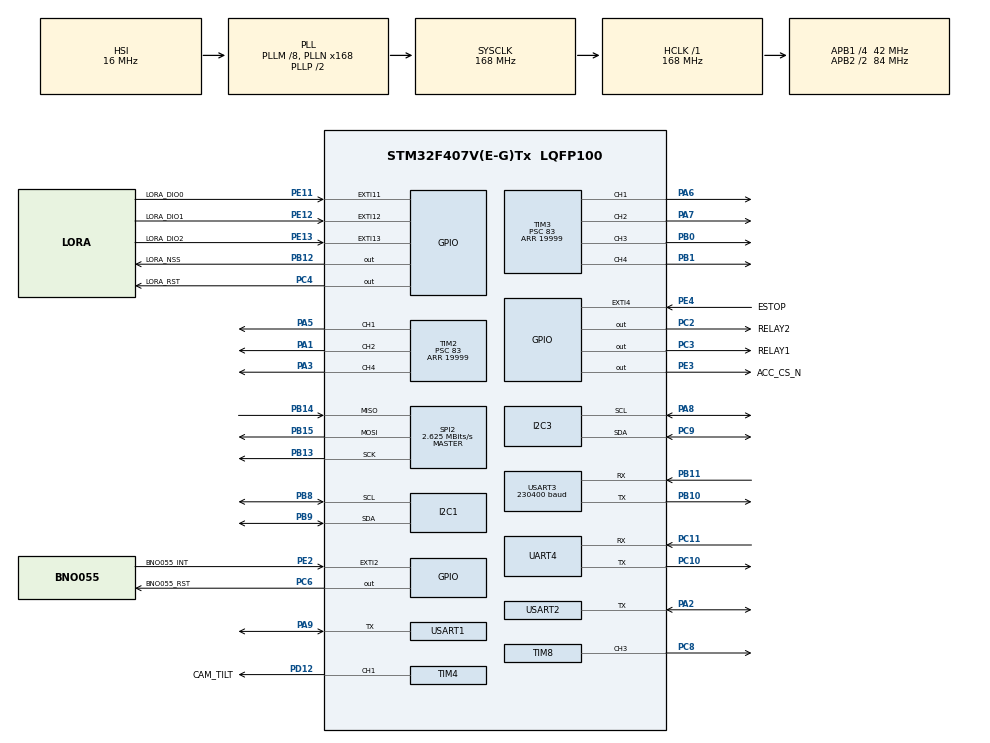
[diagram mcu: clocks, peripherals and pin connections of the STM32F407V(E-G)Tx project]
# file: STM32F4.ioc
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Dma.Request0=USART3_RX
Dma.Request1=USART1_RX
Dma.Request2=USART1_TX
Dma.Request3=USART2_RX
Dma.Request4=UART4_RX
Dma.Request5=UART4_TX
Dma.UART4_RX.4.Direction=DMA_PERIPH_TO_MEMORY
Dma.UART4_RX.4.FIFOMode=DMA_FIFOMODE_DISABLE
Dma.UART4_RX.4.Instance=DMA1_Stream2
Dma.UART4_RX.4.MemDataAlignment=DMA_MDATAALIGN_BYTE
Dma.UART4_RX.4.MemInc=DMA_MINC_ENABLE
Dma.UART4_RX.4.Mode=DMA_CIRCULAR
Dma.UART4_RX.4.PeriphDataAlignment=DMA_PDATAALIGN_BYTE
Dma.UART4_RX.4.PeriphInc=DMA_PINC_DISABLE
Dma.UART4_RX.4.Priority=DMA_PRIORITY_MEDIUM
Dma.UART4_TX.5.Direction=DMA_MEMORY_TO_PERIPH
Dma.UART4_TX.5.FIFOMode=DMA_FIFOMODE_DISABLE
Dma.UART4_TX.5.Instance=DMA1_Stream4
Dma.UART4_TX.5.MemDataAlignment=DMA_MDATAALIGN_BYTE
Dma.UART4_TX.5.MemInc=DMA_MINC_ENABLE
Dma.UART4_TX.5.Mode=DMA_NORMAL
Dma.UART4_TX.5.PeriphDataAlignment=DMA_PDATAALIGN_BYTE
Dma.UART4_TX.5.PeriphInc=DMA_PINC_DISABLE
Dma.UART4_TX.5.Priority=DMA_PRIORITY_MEDIUM
Dma.USART1_RX.1.Direction=DMA_PERIPH_TO_MEMORY
Dma.USART1_RX.1.FIFOMode=DMA_FIFOMODE_DISABLE
Dma.USART1_RX.1.Instance=DMA2_Stream2
Dma.USART1_RX.1.MemDataAlignment=DMA_MDATAALIGN_BYTE
Dma.USART1_RX.1.MemInc=DMA_MINC_ENABLE
Dma.USART1_RX.1.Mode=DMA_NORMAL
Dma.USART1_RX.1.PeriphDataAlignment=DMA_PDATAALIGN_BYTE
Dma.USART1_RX.1.PeriphInc=DMA_PINC_DISABLE
Dma.USART1_RX.1.Priority=DMA_PRIORITY_MEDIUM
Dma.USART1_TX.2.Direction=DMA_MEMORY_TO_PERIPH
Dma.USART1_TX.2.FIFOMode=DMA_FIFOMODE_DISABLE
Dma.USART1_TX.2.Instance=DMA2_Stream7
Dma.USART1_TX.2.MemDataAlignment=DMA_MDATAALIGN_BYTE
Dma.USART1_TX.2.MemInc=DMA_MINC_ENABLE
Dma.USART1_TX.2.Mode=DMA_NORMAL
Dma.USART1_TX.2.PeriphDataAlignment=DMA_PDATAALIGN_BYTE
Dma.USART1_TX.2.PeriphInc=DMA_PINC_DISABLE
Dma.USART1_TX.2.Priority=DMA_PRIORITY_MEDIUM
Dma.USART2_RX.3.Direction=DMA_PERIPH_TO_MEMORY
Dma.USART2_RX.3.FIFOMode=DMA_FIFOMODE_DISABLE
Dma.USART2_RX.3.Instance=DMA1_Stream5
Dma.USART2_RX.3.MemDataAlignment=DMA_MDATAALIGN_BYTE
Dma.USART2_RX.3.MemInc=DMA_MINC_ENABLE
Dma.USART2_RX.3.Mode=DMA_NORMAL
Dma.USART2_RX.3.PeriphDataAlignment=DMA_PDATAALIGN_BYTE
Dma.USART2_RX.3.PeriphInc=DMA_PINC_DISABLE
Dma.USART2_RX.3.Priority=DMA_PRIORITY_LOW
Dma.USART3_RX.0.Direction=DMA_PERIPH_TO_MEMORY
Dma.USART3_RX.0.FIFOMode=DMA_FIFOMODE_DISABLE
Dma.USART3_RX.0.Instance=DMA1_Stream1
Dma.USART3_RX.0.MemDataAlignment=DMA_MDATAALIGN_BYTE
Dma.USART3_RX.0.MemInc=DMA_MINC_ENABLE
Dma.USART3_RX.0.Mode=DMA_CIRCULAR
Dma.USART3_RX.0.PeriphDataAlignment=DMA_PDATAALIGN_BYTE
Dma.USART3_RX.0.PeriphInc=DMA_PINC_DISABLE
Dma.USART3_RX.0.Priority=DMA_PRIORITY_MEDIUM
I2C1.I2C_Mode=I2C_Fast
I2C3.I2C_Mode=I2C_Fast
Mcu.Family=STM32F4
Mcu.Name=STM32F407V(E-G)Tx
Mcu.Package=LQFP100
NVIC.DMA1_Stream1_IRQn=true\:5\:0\:true\:false\:true\:false\:true\:true
NVIC.DMA1_Stream2_IRQn=true\:5\:0\:true\:false\:true\:false\:true\:true
NVIC.DMA1_Stream4_IRQn=true\:5\:0\:true\:false\:true\:false\:true\:true
NVIC.DMA1_Stream5_IRQn=true\:5\:0\:true\:false\:true\:false\:true\:true
NVIC.DMA2_Stream2_IRQn=true\:5\:0\:true\:false\:true\:false\:true\:true
NVIC.DMA2_Stream7_IRQn=true\:5\:0\:true\:false\:true\:false\:true\:true
NVIC.EXTI15_10_IRQn=true\:6\:0\:true\:false\:true\:true\:true\:true
NVIC.EXTI2_IRQn=true\:6\:0\:true\:false\:true\:true\:true\:true
NVIC.EXTI4_IRQn=true\:0\:0\:true\:false\:true\:true\:true\:true
NVIC.PriorityGroup=NVIC_PRIORITYGROUP_4
NVIC.UART4_IRQn=true\:5\:0\:true\:false\:true\:true\:true\:true
NVIC.USART1_IRQn=true\:5\:0\:true\:false\:true\:true\:true\:true
NVIC.USART2_IRQn=true\:5\:0\:true\:false\:true\:true\:true\:true
NVIC.USART3_IRQn=true\:5\:0\:true\:false\:true\:true\:true\:true
PA1.Signal=S_TIM2_CH2
PA13.Mode=Serial_Wire
PA13.Signal=SYS_JTMS-SWDIO
PA14.Mode=Serial_Wire
PA14.Signal=SYS_JTCK-SWCLK
PA2.GPIO_PuPd=GPIO_PULLUP
PA2.Mode=Half_duplex(single_wire_mode)
PA2.Signal=USART2_TX
PA3.Signal=S_TIM2_CH4
PA5.Signal=S_TIM2_CH1_ETR
PA6.Signal=S_TIM3_CH1
PA7.Signal=S_TIM3_CH2
PA8.GPIO_Pu=GPIO_PULLUP
PA8.Mode=I2C
PA8.Signal=I2C3_SCL
PA9.GPIO_PuPd=GPIO_PULLUP
PA9.Mode=Half_duplex(single_wire_mode)
PA9.Signal=USART1_TX
PB0.Signal=S_TIM3_CH3
PB1.Signal=S_TIM3_CH4
PB10.Mode=Asynchronous
PB10.Signal=USART3_TX
PB11.Mode=Asynchronous
PB11.Signal=USART3_RX
PB12.GPIO_Label=LORA_NSS
PB12.GPIO_Speed=GPIO_SPEED_FREQ_HIGH
PB12.PinState=GPIO_PIN_SET
PB12.Signal=GPIO_Output
PB13.Mode=Full_Duplex_Master
PB13.Signal=SPI2_SCK
PB14.Mode=Full_Duplex_Master
PB14.Signal=SPI2_MISO
PB15.Mode=Full_Duplex_Master
PB15.Signal=SPI2_MOSI
PB8.GPIO_Pu=GPIO_PULLUP
PB8.Mode=I2C
PB8.Signal=I2C1_SCL
PB9.GPIO_Pu=GPIO_PULLUP
PB9.Mode=I2C
PB9.Signal=I2C1_SDA
PC10.Mode=Asynchronous
PC10.Signal=UART4_TX
PC11.GPIO_PuPd=GPIO_PULLUP
PC11.Mode=Asynchronous
PC11.Signal=UART4_RX
PC2.GPIO_Label=RELAY2
PC2.GPIO_ModeDefaultOutputPP=GPIO_MODE_OUTPUT_PP
PC2.GPIO_PuPd=GPIO_NOPULL
PC2.PinState=GPIO_PIN_RESET
PC2.Signal=GPIO_Output
PC3.GPIO_Label=RELAY1
PC3.Signal=GPIO_Output
PC4.GPIO_Label=LORA_RST
PC4.PinState=GPIO_PIN_SET
PC4.Signal=GPIO_Output
PC6.GPIO_Label=BNO055_RST
PC6.PinState=GPIO_PIN_SET
PC6.Signal=GPIO_Output
PC8.Signal=S_TIM8_CH3
PC9.GPIO_Pu=GPIO_PULLUP
PC9.Mode=I2C
PC9.Signal=I2C3_SDA
PD12.GPIO_Label=CAM_TILT
PD12.Signal=S_TIM4_CH1
PE11.GPIO_Label=LORA_DIO0
PE11.Signal=GPXTI11
PE12.GPIO_Label=LORA_DIO1
PE12.Signal=GPXTI12
PE13.GPIO_Label=LORA_DIO2
PE13.Signal=GPXTI13
PE2.GPIO_Label=BNO055_INT
PE2.Signal=GPXTI2
PE3.GPIO_Label=ACC_CS_N
PE3.PinState=GPIO_PIN_SET
PE3.Signal=GPIO_Output
PE4.GPIO_Label=ESTOP
PE4.GPIO_ModeDefaultEXTI=GPIO_MODE_IT_FALLING
PE4.GPIO_PuPd=GPIO_PULLUP
PE4.Signal=GPXTI4
PH0-OSC_IN.Mode=HSE-External-Oscillator
PH0-OSC_IN.Signal=RCC_OSC_IN
PH1-OSC_OUT.Mode=HSE-External-Oscillator
PH1-OSC_OUT.Signal=RCC_OSC_OUT
ProjectManager.HeapSize=0x200
ProjectManager.StackSize=0x400
ProjectManager.TargetToolchain=CMake
RCC.48MHZClocksFreq_Value=84000000
RCC.AHBFreq_Value=168000000
RCC.APB1CLKDivider=RCC_HCLK_DIV4
RCC.APB1Freq_Value=42000000
RCC.APB1TimFreq_Value=84000000
RCC.APB2CLKDivider=RCC_HCLK_DIV2
RCC.APB2Freq_Value=84000000
RCC.APB2TimFreq_Value=168000000
RCC.CortexFreq_Value=168000000
RCC.HCLKFreq_Value=168000000
RCC.HSE_VALUE=25000000
RCC.HSI_VALUE=16000000
RCC.LSE_VALUE=32768
RCC.PLLM=8
RCC.PLLN=168
RCC.SYSCLKFreq_VALUE=168000000
RCC.SYSCLKSource=RCC_SYSCLKSOURCE_PLLCLK
RCC.VCOOutputFreq_Value=336000000
SH.S_TIM2_CH1_ETR.0=TIM2_CH1,PWM Generation1 CH1
SH.S_TIM2_CH2.0=TIM2_CH2,PWM Generation2 CH2
SH.S_TIM2_CH4.0=TIM2_CH4,PWM Generation4 CH4
SH.S_TIM3_CH1.0=TIM3_CH1,PWM Generation1 CH1
SH.S_TIM3_CH2.0=TIM3_CH2,PWM Generation2 CH2
SH.S_TIM3_CH3.0=TIM3_CH3,PWM Generation3 CH3
SH.S_TIM3_CH4.0=TIM3_CH4,PWM Generation4 CH4
SH.S_TIM4_CH1.0=TIM4_CH1,PWM Generation1 CH1
SH.S_TIM8_CH3.0=TIM8_CH3,PWM Generation3 CH3
SPI2.BaudRatePrescaler=SPI_BAUDRATEPRESCALER_16
SPI2.CalculateBaudRate=2.625 MBits/s
SPI2.Direction=SPI_DIRECTION_2LINES
SPI2.Mode=SPI_MODE_MASTER
SPI2.VirtualType=VM_MASTER
TIM2.AutoReloadPreload=TIM_AUTORELOAD_PRELOAD_ENABLE
TIM2.Channel-PWM\ Generation1\ CH1=TIM_CHANNEL_1
TIM2.Channel-PWM\ Generation2\ CH2=TIM_CHANNEL_2
TIM2.Channel-PWM\ Generation4\ CH4=TIM_CHANNEL_4
TIM2.Period=19999
TIM2.Prescaler=83
TIM2.Pulse-PWM\ Generation1\ CH1=1000
TIM2.Pulse-PWM\ Generation2\ CH2=1500
TIM2.Pulse-PWM\ Generation4\ CH4=1000
TIM3.AutoReloadPreload=TIM_AUTORELOAD_PRELOAD_ENABLE
TIM3.Channel-PWM\ Generation1\ CH1=TIM_CHANNEL_1
TIM3.Channel-PWM\ Generation2\ CH2=TIM_CHANNEL_2
TIM3.Channel-PWM\ Generation3\ CH3=TIM_CHANNEL_3
TIM3.Channel-PWM\ Generation4\ CH4=TIM_CHANNEL_4
TIM3.Period=19999
TIM3.Prescaler=83
TIM3.Pulse-PWM\ Generation1\ CH1=1500
TIM3.Pulse-PWM\ Generation2\ CH2=1500
TIM3.Pulse-PWM\ Generation3\ CH3=1500
TIM3.Pulse-PWM\ Generation4\ CH4=1500
TIM4.AutoReloadPreload=TIM_AUTORELOAD_PRELOAD_ENABLE
TIM4.Channel-PWM\ Generation1\ CH1=TIM_CHANNEL_1
TIM4.Period=19999
TIM4.Prescaler=83
TIM4.Pulse-PWM\ Generation1\ CH1=1500
TIM8.AutoReloadPreload=TIM_AUTORELOAD_PRELOAD_ENABLE
TIM8.Channel-PWM\ Generation3\ CH3=TIM_CHANNEL_3
TIM8.Period=249
TIM8.Prescaler=167
UART4.VirtualMode=Asynchronous
USART1.VirtualMode=VM_ASYNC
USART2.VirtualMode=VM_ASYNC
USART3.BaudRate=230400
USART3.VirtualMode=VM_ASYNC
VP_TIM2_VS_ClockSourceINT.Mode=Internal
VP_TIM3_VS_ClockSourceINT.Mode=Internal
VP_TIM4_VS_ClockSourceINT.Mode=Internal
VP_TIM8_VS_ClockSourceINT.Mode=Internal
board=custom

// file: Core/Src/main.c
/* USER CODE BEGIN Header */
/**
  ******************************************************************************
  * @file           : main.c
  * @brief          : Main program body
  ******************************************************************************
  * @attention
  *
  * Copyright (c) 2026 STMicroelectronics.
  * All rights reserved.
  *
  * This software is licensed under terms that can be found in the LICENSE file
  * in the root directory of this software component.
  * If no LICENSE file comes with this software, it is provided AS-IS.
  *
  ******************************************************************************
  */
/* USER CODE END Header */
#include "main.h"
#include "dma.h"
#include "i2c.h"
#include "spi.h"
#include "tim.h"
#include "usart.h"
#include "gpio.h"

/* USER CODE BEGIN Includes */
#include "actuators.h"
#include "battery.h"
#include "buzzer.h"
#include "lights.h"
#include "app_config.h"
#include "control.h"
#include "gps_nmea.h"
#include "imu.h"
#include "imu_watchdog.h"
#include "i2c_bus.h"
#include "hw_test.h"
#include "lora_beacon.h"
#include "uart_protocol.h"
#include <stdio.h>
#include <string.h>
/* USER CODE END Includes */

/* USER CODE BEGIN PD */
#define BNO055_READ_PERIOD_MS  10U   /* fusion output data rate 100 Hz (Table 3-14) */
/* USER CODE END PD */

/* USER CODE BEGIN PV */
static uint8_t pi_rx_byte, gps_rx_byte;
static pi_command_t pi_command;
static gps_state_t gps;
static bno055_euler_t imu;
static controller_t control;
imu_watchdog_t imu_watchdog;   /* not static: read live over ST-LINK */
/* USER CODE END PV */

void SystemClock_Config(void);

/* USER CODE BEGIN 0 */
#if !PI_LINK_TEST_ENABLED
static void send_telemetry(uint16_t sequence)
{
  char payload[128];
  uint32_t now = HAL_GetTick();
  /* Same freshness rule as Control_Tick: a good read within IMU_TIMEOUT_MS. Not imu.valid, which a
     single failed I2C read clears for one tick: the Pi stopped the boat on it (safety.py imu_stale)
     and the front motor braked, while the F407 itself stayed armed. */
  bool imu_ok = control.last_imu_ms != 0U && (uint32_t)(now - control.last_imu_ms) <= IMU_TIMEOUT_MS;

  snprintf(payload, sizeof(payload), "%u,%.2f,%.2f,%.2f,%u,%u,%u", sequence, imu.pitch_deg, imu.roll_deg, imu.heading_deg, imu_ok ? 1U : 0U, control.overturned ? 1U : 0U, (unsigned)imu.mag_calibration);
  Protocol_Send(&huart4, "IMU", payload);
  snprintf(payload, sizeof(payload), "%u,%.6f,%.6f,%u,%.1f,%.2f,%.1f", sequence, gps.latitude_deg, gps.longitude_deg, gps.fix, gps.hdop, gps.speed_mps, gps.course_deg);
  Protocol_Send(&huart4, "GPS", payload);
  /* armed and auto let the Pi sweep its camera while the boat waits; with no RC transmitter auto is
     always 1. Then the presses of the victim's confirm button (PE4) since boot, and the battery's
     charge in % (-1 unknown) after its voltage in the first field. */
  snprintf(payload, sizeof(payload), "%u,%.2f,%u,%u,%u,%u,1,%u,%d", sequence, (double)Battery_Volts(), control.motor_fault ? 1U : 0U,
           control.estop ? 1U : 0U, pi_command.pi_link_ok ? 1U : 0U, control.armed ? 1U : 0U, (unsigned)control.confirm.presses,
           Battery_Percent());
  Protocol_Send(&huart4, "SYS", payload);
}
#endif

#if !HW_TEST_ENABLED
/* Events for the shore station over LoRa: a person the Pi reported, the boat overturned (again
   every TILT_REPEAT_MS while it stays so), the confirm button pressed. */
static void report_events(uint32_t now)
{
  static bool was_overturned;
  static uint32_t last_tilt_ms;
  static uint16_t presses_seen;
  if (control.overturned && (!was_overturned || (uint32_t)(now - last_tilt_ms) >= TILT_REPEAT_MS))
  {
    LoraBeacon_ReportTilt(imu.roll_deg, imu.pitch_deg, now);
    last_tilt_ms = now;
  }
  was_overturned = control.overturned;
  if (control.confirm.presses != presses_seen)
  {
    presses_seen = control.confirm.presses;
    LoraBeacon_ReportConfirm(presses_seen, now);
  }
}
#endif
/* USER CODE END 0 */

int main(void)
{

  /* MCU Configuration--------------------------------------------------------*/

  /* Reset of all peripherals, Initializes the Flash interface and the Systick. */
  HAL_Init();

  /* Configure the system clock */
  SystemClock_Config();

  /* Initialize all configured peripherals */
  MX_GPIO_Init();
  MX_DMA_Init();
  MX_I2C1_Init();
  MX_I2C3_Init();
  MX_SPI2_Init();
  MX_USART3_UART_Init();
  MX_USART1_UART_Init();
  MX_USART2_UART_Init();
  MX_TIM2_Init();
  MX_TIM3_Init();
  MX_TIM8_Init();
  MX_UART4_Init();
  MX_TIM4_Init();
  /* USER CODE BEGIN 2 */
  Protocol_Init(&pi_command);
  GPS_Init(&gps);
  Control_Init(&control);
  Lights_Init();           /* off until the shore station sends the admin's command */
  LoraBeacon_Init(&hspi2, &gps, &imu, &control); /* SPI2 + NSS PB12 + RST PC4, non-blocking */
#if HW_TEST_ENABLED
  HwTest_Init();
#else
  Actuators_Init();
  Actuators_StartEscs();   /* stop signal from boot so the ESCs arm */
  Buzzer_Init();
  Buzzer_Beep(1U);         /* firmware is up */
#endif
  ImuWatchdog_Init(&imu_watchdog, IMU_Init(), HAL_GetTick());   /* a failed init is tried again */
  Battery_Init(&hi2c1);    /* INA226 remains on I2C1 (PB8/PB9); BNO055 uses I2C3. */

  HAL_UART_Receive_IT(&huart4, &pi_rx_byte, 1U);
  HAL_UART_Receive_IT(&huart3, &gps_rx_byte, 1U);
  /* USART2 (PA2, half duplex) was the FS-iA6B's iBUS: there is no RC transmitter any more, nothing
     reads it. CubeMX still sets it up; remove it in STM32F4.ioc to free the pin. */

  uint32_t last_control = 0U, last_telemetry = 0U;
  uint16_t sequence = 0U;
  /* USER CODE END 2 */

  /* Infinite loop */
  while (1)
  {

    /* USER CODE BEGIN 3 */
    uint32_t now = HAL_GetTick();
    LoraBeacon_Tick(now);

    if ((uint32_t)(now - last_control) >= CONTROL_PERIOD_MS)
    {
      last_control = now;
      /* The BNO055 and INA226 now have separate I2C buses; recover one without blocking the other. */
      bool imu_bus_ok = I2cBus_Ready(&hi2c3, now);
      bool battery_bus_ok = I2cBus_Ready(&hi2c1, now);
      bool imu_read = imu_bus_ok && IMU_Read(&imu);
      if (imu_read) control.last_imu_ms = now;
      else if (!imu_bus_ok) imu.valid = false;
      ImuWatchdog_OnRead(&imu_watchdog, imu_read, now);
      if (battery_bus_ok) Battery_Tick(now);
#if !HW_TEST_ENABLED
      /* The BNO055 lost, or reset by itself: started again. That blocks ~0.7..2 s, so every motor is
         stopped first (HwTest never does it: its motor time limit would stall meanwhile). A lost
         IMU has disarmed the boat already; only BENCH_IGNORE_IMU drives on without one, and the
         stand is then left driving. A sensor that reset itself reads zeros that look fresh: that
         one is stopped and started again whatever the boat does. */
      if (imu_bus_ok && ImuWatchdog_CheckDue(&imu_watchdog, now))
        ImuWatchdog_OnModeCheck(&imu_watchdog, IMU_SensorReset(), now);
      bool driving = control.operating_mode == 'A';
      if (ImuWatchdog_ReinitDue(&imu_watchdog, now) && (!driving || imu_watchdog.cause == IMU_CAUSE_MODE))
      {
        Control_Stop(&control);
        if (!imu_bus_ok) I2cBus_Recover(&hi2c3);
        bool ok = IMU_Init();
        now = HAL_GetTick();
        ImuWatchdog_OnReinit(&imu_watchdog, ok, now);
        imu.valid = false;     /* fresh again only after the next good read */
      }
#endif
#if HW_TEST_ENABLED
      HwTest_Tick(now);
#else
      control.hold = LoraBeacon_Hold();
      Control_Tick(&control, &pi_command, &imu, now);
      Lights_Manual(pi_command.mode == NAV_MANUAL, pi_command.man_lights);
      Camera_Tick(&pi_command, now);
      Buzzer_Tick(now);
      report_events(now);
#endif
      /* SOS output (old PD13) has no pin in Pinout (Hy) yet. */

      /* Every TXD queued since the last tick: several come back to back when people are confirmed together. */
      txd_event_t txd;
      while (TxdQueue_Pop(&pi_command.txd, &txd))
      {
        char ack[40];
        snprintf(ack, sizeof(ack), "%u,TXD,ACCEPTED", txd.sequence);
        Protocol_Send(&huart4, "ACK", ack);
        LoraBeacon_SetVictims(txd.victims, now);
        if (txd.victim_report)
          LoraBeacon_ReportVictim(txd.has_pos, txd.lat_e6, txd.lon_e6, txd.risk, txd.confidence_pct, now);
      }
    }

    if ((uint32_t)(now - last_telemetry) >= TELEMETRY_PERIOD_MS)
    {
      last_telemetry = now;
#if PI_LINK_TEST_ENABLED
      char payload[48];
      snprintf(payload, sizeof(payload), "%u,%lu,HELLO_PI", ++sequence, (unsigned long)now);
      Protocol_Send(&huart4, "TST", payload);
#else
      send_telemetry(++sequence);
      /* Diagnostics for the dashboard, sent over LoRa every LORA_DIAG_PERIOD_MS (App/diag_frame.h). */
      diag_t diag = { 0 };
      char reason[sizeof(pi_command.pi_reason)];
      memcpy(reason, pi_command.pi_reason, sizeof(reason));   /* the UART interrupt writes it */
      reason[sizeof(reason) - 1U] = '\0';
      bool pi_heard = pi_command.pi_link_ok && (uint32_t)(now - pi_command.last_hbt_ms) <= DIAG_PI_SILENT_MS;
      Diag_SetPi(&diag, pi_heard, reason, pi_command.pi_mission, pi_command.pi_wp, pi_command.pi_wp_total);
      diag.has_fps = pi_heard && pi_command.pi_fps_x10 >= 0;
      diag.fps_x10 = diag.has_fps ? (uint16_t)pi_command.pi_fps_x10 : 0U;
      diag.arm_block = heading_debug.arm_block;
      diag.drive_block = heading_debug.block;
      diag.has_battery = battery_debug.ok != 0U;
      diag.volts = battery_debug.volts;
      diag.amps = battery_debug.amps;
      diag.i2c_recoveries = i2c_bus_debug.recoveries;
      diag.imu_reinits = imu_watchdog.attempts;
      LoraBeacon_SetDiag(&diag);
      /* Route from the dashboard over LoRa: one $RTE line a period until the Pi's $HBT confirms it. */
      char route_line[180];
      LoraBeacon_SetPiRouteRev(pi_command.route_rev);
      if (LoraBeacon_NextPiRouteLine(sequence, now, route_line, sizeof(route_line)))
        Protocol_Send(&huart4, "RTE", route_line);
      /* Once a second the shore link and the way home ($LNK): the Pi takes the boat home when it is lost. */
      if (sequence % (1000U / TELEMETRY_PERIOD_MS) == 0U &&
          LoraBeacon_LinkLine(sequence, now, route_line, sizeof(route_line)) > 0U)
        Protocol_Send(&huart4, "LNK", route_line);
      /* A person another boat looks after (docs/victim-claim.md): $SKP once, the Pi leaves them alone. */
      if (LoraBeacon_SkipLine(sequence, route_line, sizeof(route_line)) > 0U)
        Protocol_Send(&huart4, "SKP", route_line);
#endif
    }
  }
  /* USER CODE END 3 */
}

void SystemClock_Config(void)
{
  RCC_OscInitTypeDef RCC_OscInitStruct = {0};
  RCC_ClkInitTypeDef RCC_ClkInitStruct = {0};

  /** Configure the main internal regulator output voltage
  */
  __HAL_RCC_PWR_CLK_ENABLE();
  __HAL_PWR_VOLTAGESCALING_CONFIG(PWR_REGULATOR_VOLTAGE_SCALE1);

  /** Initializes the RCC Oscillators according to the specified parameters
  * in the RCC_OscInitTypeDef structure.
  */
  RCC_OscInitStruct.OscillatorType = RCC_OSCILLATORTYPE_HSI;
  RCC_OscInitStruct.HSIState = RCC_HSI_ON;
  RCC_OscInitStruct.HSICalibrationValue = RCC_HSICALIBRATION_DEFAULT;
  RCC_OscInitStruct.PLL.PLLState = RCC_PLL_ON;
  RCC_OscInitStruct.PLL.PLLSource = RCC_PLLSOURCE_HSI;
  RCC_OscInitStruct.PLL.PLLM = 8;
  RCC_OscInitStruct.PLL.PLLN = 168;
  RCC_OscInitStruct.PLL.PLLP = RCC_PLLP_DIV2;
  RCC_OscInitStruct.PLL.PLLQ = 4;
  if (HAL_RCC_OscConfig(&RCC_OscInitStruct) != HAL_OK)
  {
    Error_Handler();
  }

  /** Initializes the CPU, AHB and APB buses clocks
  */
  RCC_ClkInitStruct.ClockType = RCC_CLOCKTYPE_HCLK|RCC_CLOCKTYPE_SYSCLK
                              |RCC_CLOCKTYPE_PCLK1|RCC_CLOCKTYPE_PCLK2;
  RCC_ClkInitStruct.SYSCLKSource = RCC_SYSCLKSOURCE_PLLCLK;
  RCC_ClkInitStruct.AHBCLKDivider = RCC_SYSCLK_DIV1;
  RCC_ClkInitStruct.APB1CLKDivider = RCC_HCLK_DIV4;
  RCC_ClkInitStruct.APB2CLKDivider = RCC_HCLK_DIV2;

  if (HAL_RCC_ClockConfig(&RCC_ClkInitStruct, FLASH_LATENCY_5) != HAL_OK)
  {
    Error_Handler();
  }
}

/* USER CODE BEGIN 4 */
void HAL_UART_RxCpltCallback(UART_HandleTypeDef *huart)
{
  uint32_t now = HAL_GetTick();

  if (huart == &huart4)
  {
    Protocol_FeedByte(&pi_command, pi_rx_byte, now);
    HAL_UART_Receive_IT(&huart4, &pi_rx_byte, 1U);
  }
  else if (huart == &huart3)
  {
    GPS_FeedByte(&gps, gps_rx_byte, now);
    HAL_UART_Receive_IT(&huart3, &gps_rx_byte, 1U);
  }
}

void HAL_UART_ErrorCallback(UART_HandleTypeDef *huart)
{
  /* Clear the error flags first (SR read, then DR read). HAL only reads DR when RXNE is set: an
     overrun caught with RXNE already clear left ORE set, and re-arming RXNEIE on it fired the
     interrupt again at once, for ever. Seen on the stand (2026-10-18): stuck in USART3, the GPS,
     with SR 0xD8; the main loop never ran again, no telemetry, no PE4. */
  __HAL_UART_CLEAR_OREFLAG(huart);
  /* An overrun makes HAL abort the interrupt reception. Re-arm the GPS byte so the
     fix source does not stay silent until the next reset (BUSY if HAL kept it armed). */
  if (huart == &huart3) (void)HAL_UART_Receive_IT(&huart3, &gps_rx_byte, 1U);
  /* Same for the Pi link: without this one overrun leaves UART4 deaf until reset. */
  else if (huart == &huart4) (void)HAL_UART_Receive_IT(&huart4, &pi_rx_byte, 1U);
}
/* USER CODE END 4 */

void Error_Handler(void)
{
  __disable_irq();
  while (1)
  {
  }
}
